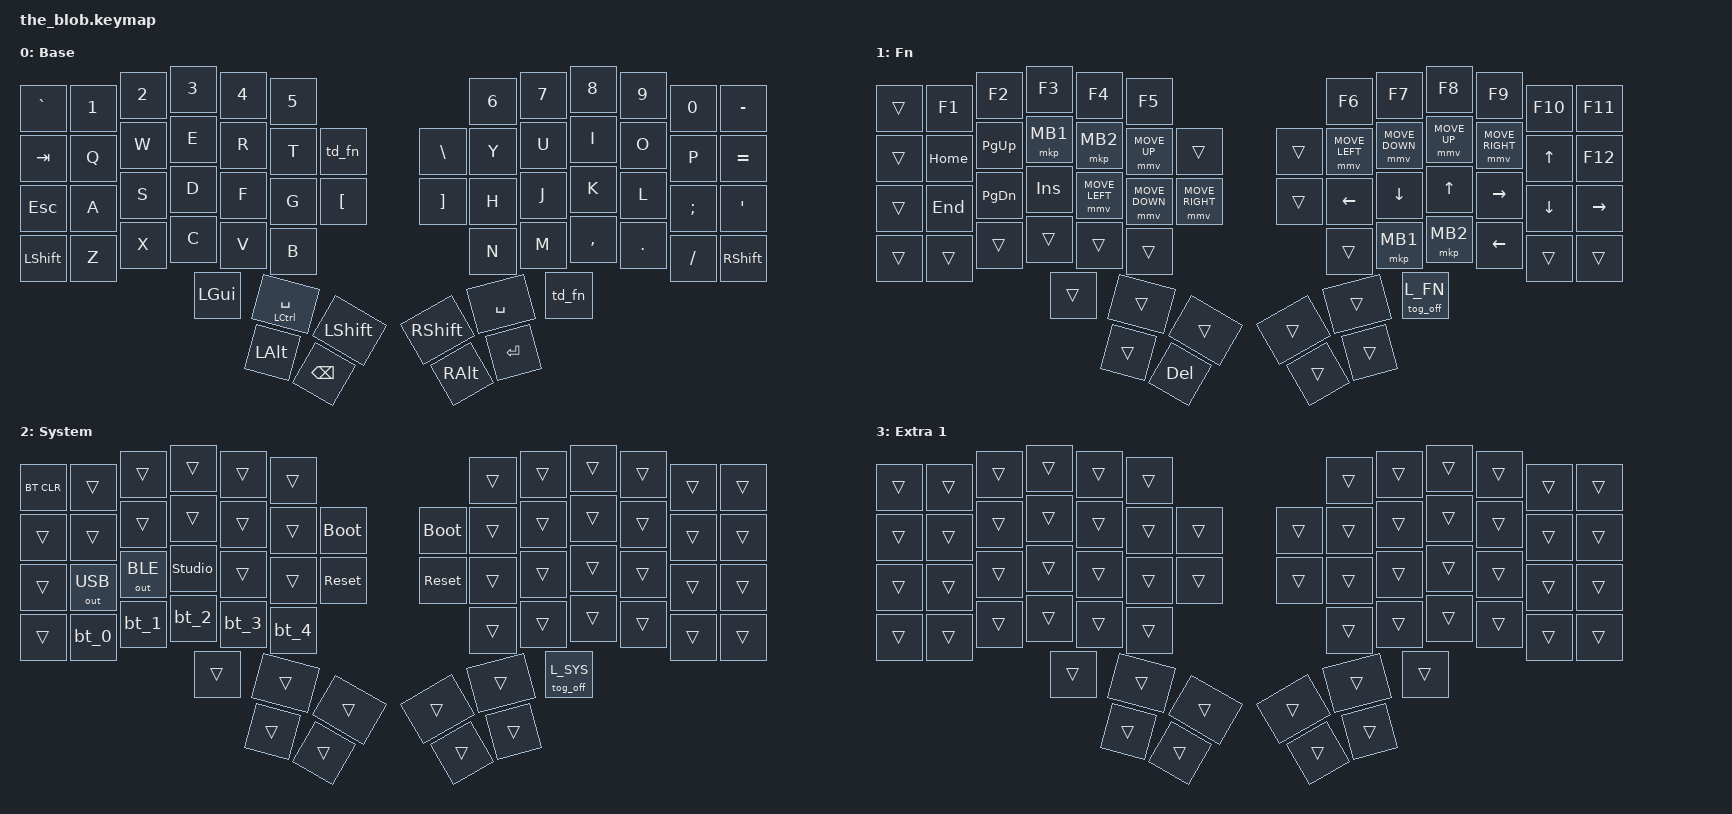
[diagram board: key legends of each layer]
#include <behaviors.dtsi>
#include <dt-bindings/zmk/keys.h>
#include <dt-bindings/zmk/outputs.h>
#include <dt-bindings/zmk/pointing.h>
#include <dt-bindings/zmk/bt.h>

#define L_BASE 0
#define L_FN 1
#define L_SYS 2

/ {
    macros {
        bt_out: bt_out {
            compatible = "zmk,behavior-macro-one-param";
            #binding-cells = <1>;
            bindings
                = <&out OUT_BLE>
                , <&macro_param_1to2>
                , <&bt BT_SEL MACRO_PLACEHOLDER>
                ;
        };

        bt_clr: bt_clr {
            compatible = "zmk,behavior-macro-one-param";
            #binding-cells = <1>;
            bindings
                = <&out OUT_BLE>
                , <&macro_param_1to2>
                , <&bt BT_SEL MACRO_PLACEHOLDER>
                , <&bt BT_CLR>
                ;
        };
    };

    behaviors {
        tog_on: toggle_layer_on_only {
            compatible = "zmk,behavior-toggle-layer";
            #binding-cells = <1>;
            display-name = "Toggle Layer On";
            toggle-mode = "on";
        };

        tog_off: toggle_layer_off_only {
            compatible = "zmk,behavior-toggle-layer";
            #binding-cells = <1>;
            display-name = "Toggle Layer Off";
            toggle-mode = "off";
        };

        td_fn: tap_dance_fn {
            compatible = "zmk,behavior-tap-dance";
            #binding-cells = <0>;
            display-name = "Layers Tap-Dance";
            tapping-term-ms = <200>;
            bindings = <&mo L_FN>, <&tog_on L_FN>, <&tog_on L_SYS>;
        };

        bt_0_clr: ble_binding_0_clr {
            compatible = "zmk,behavior-mod-morph";
            #binding-cells = <0>;
            mods = <(MOD_LSFT|MOD_RSFT)>;
            bindings = <&bt_out 0>, <&bt_clr 0>;
        };

        bt_0: ble_binding_0 {
            compatible = "zmk,behavior-mod-morph";
            #binding-cells = <0>;
            mods = <(MOD_LCTL|MOD_RCTL)>;
            bindings = <&bt_0_clr>, <&bt BT_DISC 0>;
        };

        bt_1_clr: ble_binding_1_clr {
            compatible = "zmk,behavior-mod-morph";
            #binding-cells = <0>;
            mods = <(MOD_LSFT|MOD_RSFT)>;
            bindings = <&bt_out 1>, <&bt_clr 1>;
        };

        bt_1: ble_binding_1 {
            compatible = "zmk,behavior-mod-morph";
            #binding-cells = <0>;
            mods = <(MOD_LCTL|MOD_RCTL)>;
            bindings = <&bt_1_clr>, <&bt BT_DISC 1>;
        };

        bt_2_clr: ble_binding_2_clr {
            compatible = "zmk,behavior-mod-morph";
            #binding-cells = <0>;
            mods = <(MOD_LSFT|MOD_RSFT)>;
            bindings = <&bt_out 2>, <&bt_clr 2>;
        };

        bt_2: ble_binding_2 {
            compatible = "zmk,behavior-mod-morph";
            #binding-cells = <0>;
            mods = <(MOD_LCTL|MOD_RCTL)>;
            bindings = <&bt_2_clr>, <&bt BT_DISC 2>;
        };

        bt_3_clr: ble_binding_3_clr {
            compatible = "zmk,behavior-mod-morph";
            #binding-cells = <0>;
            mods = <(MOD_LSFT|MOD_RSFT)>;
            bindings = <&bt_out 3>, <&bt_clr 3>;
        };

        bt_3: ble_binding_3 {
            compatible = "zmk,behavior-mod-morph";
            #binding-cells = <0>;
            mods = <(MOD_LCTL|MOD_RCTL)>;
            bindings = <&bt_3_clr>, <&bt BT_DISC 3>;
        };

        bt_4_clr: ble_binding_4_clr {
            compatible = "zmk,behavior-mod-morph";
            #binding-cells = <0>;
            mods = <(MOD_LSFT|MOD_RSFT)>;
            bindings = <&bt_out 4>, <&bt_clr 4>;
        };

        bt_4: ble_binding_4 {
            compatible = "zmk,behavior-mod-morph";
            #binding-cells = <0>;
            mods = <(MOD_LCTL|MOD_RCTL)>;
            bindings = <&bt_4_clr>, <&bt BT_DISC 4>;
        };
    };

    keymap {
        compatible = "zmk,keymap";

        base {
            display-name = "Base";
            bindings = <
&kp GRAVE  &kp N1 &kp N2 &kp N3   &kp N4   &kp N5                                     &kp N6    &kp N7   &kp N8    &kp N9  &kp N0   &kp MINUS
&kp TAB    &kp Q  &kp W  &kp E    &kp R    &kp T           &td_fn       &kp BACKSLASH &kp Y     &kp U    &kp I     &kp O   &kp P    &kp EQUAL
&kp ESC    &kp A  &kp S  &kp D    &kp F    &kp G           &kp LBKT     &kp RBKT      &kp H     &kp J    &kp K     &kp L   &kp SEMI &kp SQT
&kp LSHIFT &kp Z  &kp X  &kp C    &kp V    &kp B                                      &kp N     &kp M    &kp COMMA &kp DOT &kp FSLH &kp RSHIFT
                                  &kp LGUI &mt LCTRL SPACE &kp LSHIFT   &kp RSHIFT    &kp SPACE &td_fn
                                           &kp LALT        &kp BSPC     &kp RALT      &kp RETURN
            >;
        };

        fn_layer {
            display-name = "Fn";
            bindings = <
&trans    &kp F1    &kp F2         &kp F3    &kp F4            &kp F5                                                &kp F6          &kp F7          &kp F8        &kp F9           &kp F10   &kp F11
&trans    &kp HOME  &kp PG_UP      &mkp MB1  &mkp MB2          &mmv MOVE_UP      &trans             &trans           &mmv MOVE_LEFT  &mmv MOVE_DOWN  &mmv MOVE_UP  &mmv MOVE_RIGHT  &kp UP    &kp F12
&trans    &kp END   &kp PG_DN      &kp INS   &mmv MOVE_LEFT    &mmv MOVE_DOWN    &mmv MOVE_RIGHT    &trans           &kp LEFT        &kp DOWN        &kp UP        &kp RIGHT        &kp DOWN  &kp RIGHT
&trans    &trans    &trans         &trans    &trans            &trans                                                &trans          &mkp MB1        &mkp MB2      &kp LEFT         &trans    &trans
                                             &trans            &trans            &trans             &trans           &trans          &tog_off L_FN
                                                               &trans            &kp DEL            &trans           &trans
            >;
        };

        system {
            display-name = "System";
            bindings = <
&bt BT_CLR    &trans          &trans          &trans            &trans    &trans                                  &trans    &trans    &trans    &trans    &trans    &trans
&trans        &trans          &trans          &trans            &trans    &trans    &bootloader    &bootloader    &trans    &trans    &trans    &trans    &trans    &trans
&trans        &out OUT_USB    &out OUT_BLE    &studio_unlock    &trans    &trans    &sys_reset     &sys_reset     &trans    &trans    &trans    &trans    &trans    &trans
&trans        &bt_0           &bt_1           &bt_2             &bt_3     &bt_4                                   &trans    &trans    &trans    &trans    &trans    &trans
                                                                &trans    &trans    &trans         &trans         &trans    &tog_off L_SYS
                                                                          &trans    &trans         &trans         &trans
            >;
        };

        extra1 {
            display-name = "Extra 1";
            bindings = <
&trans    &trans    &trans    &trans    &trans    &trans                         &trans    &trans    &trans    &trans    &trans    &trans
&trans    &trans    &trans    &trans    &trans    &trans    &trans     &trans    &trans    &trans    &trans    &trans    &trans    &trans
&trans    &trans    &trans    &trans    &trans    &trans    &trans     &trans    &trans    &trans    &trans    &trans    &trans    &trans
&trans    &trans    &trans    &trans    &trans    &trans                         &trans    &trans    &trans    &trans    &trans    &trans
                                        &trans    &trans    &trans     &trans    &trans    &trans
                                                  &trans    &trans     &trans    &trans
            >;
        };
    };
 };
